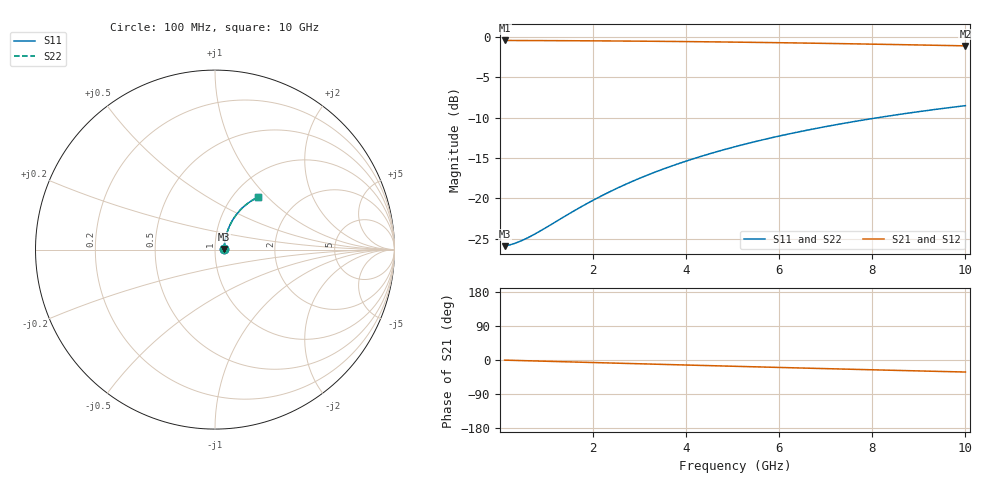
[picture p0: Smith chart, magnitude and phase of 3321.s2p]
# Hz S RI R 50.00
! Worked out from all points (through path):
!   100 points, 100 MHz to 10 GHz, reference 50 ohm
!   highest |S21| = -0.45 dB at 100 MHz (marker M1); lowest = -1.1 dB at 10 GHz (marker M2)
!   group delay of S21, straight-line fit = 8.85 ps
!   lowest |S11| = -25.9 dB at 100 MHz (marker M3), VSWR 1.11, Z = 55.3 + j0.425 ohm
!   |S11| at or under -10 dB: start of sweep to 8.133 GHz
!   |S22| runs from -25.9 to -8.5 dB; largest |S21 - S12| = 0
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1e8  0.0504 0.00383  0.9496 -0.00554  0.9496 -0.00554  0.0504 0.00383
3e8  0.0511 0.0115  0.9488 -0.0166  0.9488 -0.0166  0.0511 0.0115
4e8  0.0515 0.0153  0.9485 -0.0221  0.9485 -0.0221  0.0515 0.0153
6e8  0.0522 0.0229  0.9477 -0.0332  0.9477 -0.0332  0.0522 0.0229
9e8  0.0536 0.0343  0.9463 -0.0497  0.9463 -0.0497  0.0536 0.0343
1.5e9  0.0573 0.0569  0.9424 -0.0825  0.9424 -0.0825  0.0573 0.0569
1.8e9  0.0597 0.068  0.9398 -0.0988  0.9398 -0.0988  0.0597 0.068
2.2e9  0.0634 0.0827  0.9359 -0.1203  0.9359 -0.1203  0.0634 0.0827
2.6e9  0.0678 0.0972  0.9312 -0.1416  0.9312 -0.1416  0.0678 0.0972
3e9  0.0728 0.1114  0.9258 -0.1626  0.9258 -0.1626  0.0728 0.1114
3.4e9  0.0784 0.1253  0.9198 -0.1834  0.9198 -0.1834  0.0784 0.1253
3.8e9  0.0846 0.1389  0.9132 -0.2038  0.9132 -0.2038  0.0846 0.1389
4.2e9  0.0914 0.1521  0.9059 -0.2239  0.9059 -0.2239  0.0914 0.1521
4.6e9  0.0988 0.1649  0.898 -0.2436  0.898 -0.2436  0.0988 0.1649
5.1e9  0.1087 0.1803  0.8874 -0.2676  0.8874 -0.2676  0.1087 0.1803
5.5e9  0.1171 0.1922  0.8782 -0.2864  0.8782 -0.2864  0.1171 0.1922
5.9e9  0.1261 0.2036  0.8686 -0.3046  0.8686 -0.3046  0.1261 0.2036
6.7e9  0.1452 0.2249  0.8479 -0.3398  0.8479 -0.3398  0.1452 0.2249
7.5e9  0.1658 0.2442  0.8256 -0.3729  0.8256 -0.3729  0.1658 0.2442
8.4e9  0.1905 0.2633  0.7987 -0.4076  0.7987 -0.4076  0.1905 0.2633
9.2e9  0.2133 0.278  0.7736 -0.4363  0.7736 -0.4363  0.2133 0.278
1e10  0.2369 0.2905  0.7477 -0.4628  0.7477 -0.4628  0.2369 0.2905
